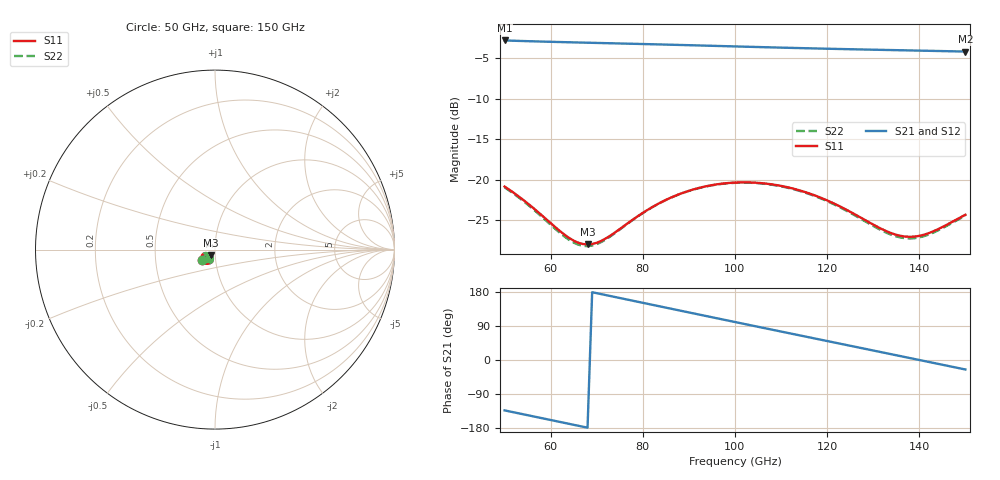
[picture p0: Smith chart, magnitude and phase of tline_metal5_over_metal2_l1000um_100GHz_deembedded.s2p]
! Created with skrf 2.2.0 (http://scikit-rf.org).
# GHz S DB R 50.0
! Port[1] = P1
! Port[2] = P2
!freq dBS11 angS11 dBS21 angS21 dBS12 angS12 dBS22 angS22
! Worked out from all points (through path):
!   101 points, 50 GHz to 150 GHz, reference 50 ohm
!   highest |S21| = -2.79 dB at 50 GHz (marker M1); lowest = -4.2 dB at 150 GHz (marker M2)
!   group delay of S21, straight-line fit = 7 ps
!   lowest |S11| = -28.0 dB at 68 GHz (marker M3), VSWR 1.08, Z = 47.7 - j3.14 ohm
!   |S11| at or under -10 dB: start of sweep to end of sweep
!   |S22| runs from -28.2 to -20.4 dB; largest |S21 - S12| = 8e-14
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50  -20.85 -141.0  -2.79 -133.0  -2.79 -133.0  -20.95 -141.2
55  -22.92 -146.8  -2.88 -145.7  -2.88 -145.7  -23.07 -147.0
59  -24.86 -147.1  -2.94 -155.8  -2.94 -155.8  -25.05 -147.2
64  -27.19 -138.6  -3.02 -168.5  -3.02 -168.5  -27.43 -138.2
67  -27.95 -128.3  -3.06 -176.1  -3.06 -176.1  -28.17 -127.4
68  -28.00 -124.4  -3.07 -178.6  -3.07 -178.6  -28.21 -123.4
71  -27.55 -113.7  -3.11 173.8  -3.11 173.8  -27.69 -112.5
76  -25.67 -104.1  -3.18 161.1  -3.18 161.1  -25.73 -103.0
84  -22.78 -106.1  -3.29 140.7  -3.29 140.7  -22.79 -105.4
92  -21.04 -116.8  -3.41 120.4  -3.41 120.4  -21.06 -116.5
96  -20.58 -123.3  -3.47 110.3  -3.47 110.3  -20.60 -123.1
100  -20.35 -130.1  -3.53 100.2  -3.53 100.2  -20.38 -129.9
104  -20.35 -136.8  -3.59 90.2  -3.59 90.2  -20.39 -136.7
108  -20.57 -143.3  -3.65 80.1  -3.65 80.1  -20.62 -143.3
112  -21.01 -149.2  -3.71 70.1  -3.71 70.1  -21.07 -149.4
117  -21.87 -155.6  -3.77 57.6  -3.77 57.6  -21.95 -155.8
126  -24.27 -160.6  -3.89 35.1  -3.89 35.1  -24.41 -160.9
134  -26.62 -151.5  -3.98 15.0  -3.98 15.0  -26.82 -151.5
137  -27.03 -144.1  -4.01 7.5  -4.01 7.5  -27.23 -143.9
140  -26.94 -136.2  -4.05 0.0  -4.05 0.0  -27.13 -135.7
145  -25.85 -126.1  -4.11 -12.5  -4.11 -12.5  -25.99 -125.6
150  -24.33 -122.3  -4.17 -25.0  -4.17 -25.0  -24.44 -121.9
